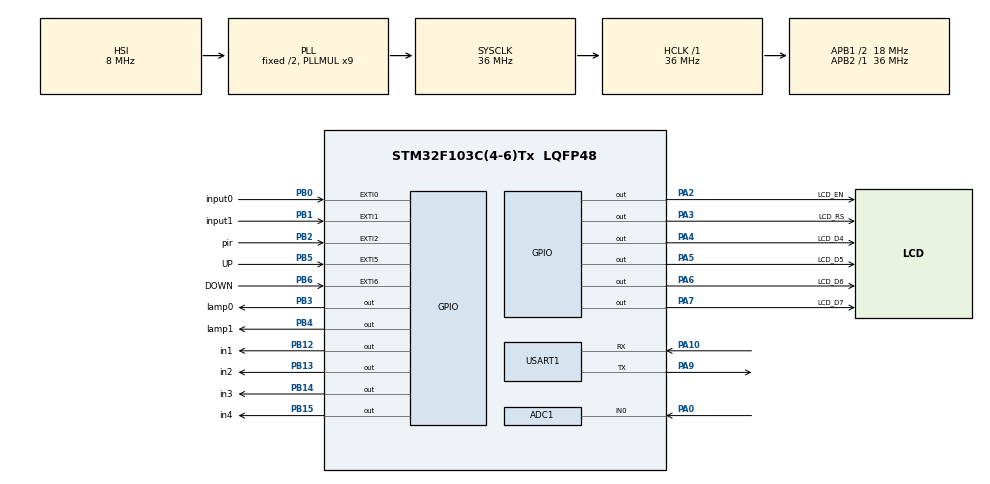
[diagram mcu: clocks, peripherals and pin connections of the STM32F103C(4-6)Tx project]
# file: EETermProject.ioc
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ADC1.Channel-0\#ChannelRegularConversion=ADC_CHANNEL_0
ADC1.NbrOfConversionFlag=1
ADC1.Rank-0\#ChannelRegularConversion=1
ADC1.SamplingTime-0\#ChannelRegularConversion=ADC_SAMPLETIME_28CYCLES_5
ADC1.master=1
Mcu.Family=STM32F1
Mcu.Name=STM32F103C(4-6)Tx
Mcu.Package=LQFP48
NVIC.EXTI0_IRQn=true\:0\:0\:false\:false\:true\:true\:true\:true
NVIC.EXTI1_IRQn=true\:0\:0\:false\:false\:true\:true\:true\:true
NVIC.EXTI2_IRQn=true\:0\:0\:false\:false\:true\:true\:true\:true
NVIC.EXTI9_5_IRQn=true\:1\:0\:true\:false\:true\:true\:true\:true
NVIC.PriorityGroup=NVIC_PRIORITYGROUP_4
NVIC.TIM2_IRQn=true\:0\:0\:false\:false\:true\:true\:true\:true
PA0-WKUP.Signal=ADCx_IN0
PA10.Mode=Asynchronous
PA10.Signal=USART1_RX
PA2.GPIO_Label=LCD_EN
PA2.Signal=GPIO_Output
PA3.GPIO_Label=LCD_RS
PA3.Signal=GPIO_Output
PA4.GPIO_Label=LCD_D4
PA4.Signal=GPIO_Output
PA5.GPIO_Label=LCD_D5
PA5.Signal=GPIO_Output
PA6.GPIO_Label=LCD_D6
PA6.Signal=GPIO_Output
PA7.GPIO_Label=LCD_D7
PA7.Signal=GPIO_Output
PA9.Mode=Asynchronous
PA9.Signal=USART1_TX
PB0.GPIO_Label=input0
PB0.GPIO_PuPd=GPIO_PULLDOWN
PB0.Signal=GPXTI0
PB1.GPIO_Label=input1
PB1.GPIO_PuPd=GPIO_PULLDOWN
PB1.Signal=GPXTI1
PB12.GPIO_Label=in1
PB12.Signal=GPIO_Output
PB13.GPIO_Label=in2
PB13.Signal=GPIO_Output
PB14.GPIO_Label=in3
PB14.Signal=GPIO_Output
PB15.GPIO_Label=in4
PB15.Signal=GPIO_Output
PB2.GPIO_Label=pir
PB2.Signal=GPXTI2
PB3.GPIO_Label=lamp0
PB3.Signal=GPIO_Output
PB4.GPIO_Label=lamp1
PB4.Signal=GPIO_Output
PB5.GPIO_Label=UP
PB5.Signal=GPXTI5
PB6.GPIO_Label=DOWN
PB6.Signal=GPXTI6
PD0-OSC_IN.Mode=HSE-External-Oscillator
PD0-OSC_IN.Signal=RCC_OSC_IN
PD1-OSC_OUT.Mode=HSE-External-Oscillator
PD1-OSC_OUT.Signal=RCC_OSC_OUT
ProjectManager.HeapSize=0x200
ProjectManager.StackSize=0x400
ProjectManager.TargetToolchain=MDK-ARM V5.32
RCC.ADCPresc=RCC_ADCPCLK2_DIV6
RCC.AHBFreq_Value=36000000
RCC.APB1CLKDivider=RCC_HCLK_DIV2
RCC.APB1Freq_Value=18000000
RCC.APB1TimFreq_Value=36000000
RCC.APB2Freq_Value=36000000
RCC.APB2TimFreq_Value=36000000
RCC.HCLKFreq_Value=36000000
RCC.PLLMUL=RCC_PLL_MUL9
RCC.SYSCLKFreq_VALUE=36000000
RCC.SYSCLKSource=RCC_SYSCLKSOURCE_PLLCLK
RCC.USBFreq_Value=36000000
SH.ADCx_IN0.0=ADC1_IN0,IN0
TIM1.Prescaler=90
USART1.VirtualMode=VM_ASYNC
VP_SYS_VS_ND.Mode=No_Debug
VP_TIM1_VS_ClockSourceINT.Mode=Internal
VP_TIM2_VS_ClockSourceINT.Mode=Internal
board=custom

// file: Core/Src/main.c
/* USER CODE BEGIN Header */
/**
  ******************************************************************************
  * @file           : main.c
  * @brief          : Main program body
  ******************************************************************************
  * @attention
  *
  * <h2><center>&copy; Copyright (c) 2021 STMicroelectronics.
  * All rights reserved.</center></h2>
  *
  * This software component is licensed by ST under BSD 3-Clause license,
  * the "License"; You may not use this file except in compliance with the
  * License. You may obtain a copy of the License at:
  *                        opensource.org/licenses/BSD-3-Clause
  *
  ******************************************************************************
  */
/* USER CODE END Header */
#include "main.h"

/* USER CODE BEGIN Includes */
#include "LCD.h"
#include<stdio.h>
#include<stdbool.h>
#include <string.h>
/* USER CODE END Includes */

 ADC_HandleTypeDef hadc1;

TIM_HandleTypeDef htim1;
TIM_HandleTypeDef htim2;

UART_HandleTypeDef huart1;

/* USER CODE BEGIN PV */

#define IN1Port in1_GPIO_Port
#define IN1Pin in1_Pin

#define IN2Port in2_GPIO_Port
#define IN2Pin  in2_Pin

#define IN3Port in3_GPIO_Port
#define IN3Pin  in3_Pin

#define IN4Port in4_GPIO_Port
#define IN4Pin  in4_Pin

#define stepsperrev 2048

/* To produce us Delay */
void delay (uint16_t us)
{
	__HAL_TIM_SET_COUNTER(&htim1, 0);
	while (__HAL_TIM_GET_COUNTER(&htim1) < us);
}

/*set the RPM for the Stepper */
void stepper_set_rpm (int rpm)  // Set rpm--> max 13, min 1,,,  went to 14 rev/min
{
	delay(60000000/stepsperrev/rpm);
}

/*Set a particular pin */
void SetPin (GPIO_TypeDef* GPIOx, uint16_t GPIO_Pin)
{
	HAL_GPIO_WritePin(GPIOx, GPIO_Pin, GPIO_PIN_SET);
}

/*Reset a particular pin */
void ResetPin (GPIO_TypeDef* GPIOx, uint16_t GPIO_Pin)
{
	HAL_GPIO_WritePin(GPIOx, GPIO_Pin, GPIO_PIN_RESET);
}

/* Wave Drive for Stepper
 * It Energizes 1 Electromagnet at a time
 * 1 revolution is 2048 steps = 512 Sequences
 * Here Sequence stands for one complete loop inside this function
 * As there are 4 steps in one loop/sequence, 2048 steps = 512 sequences
 */
void stepper_wave_drive (int step)
{
	switch (step){
		case 0:
			  SetPin(IN1Port, IN1Pin);   // IN1 SET
			  ResetPin(IN2Port, IN2Pin);   // IN2 RESET
			  ResetPin(IN3Port, IN3Pin);   // IN3 RESET
			  ResetPin(IN4Port, IN4Pin);   // IN4 RESET
			  break;

		case 1:
			  ResetPin(IN1Port, IN1Pin);   // IN1 RESET
			  SetPin(IN2Port, IN2Pin);   // IN2 SET
			  ResetPin(IN3Port, IN3Pin);   // IN3 RESET
			  ResetPin(IN4Port, IN4Pin);   // IN4 RESET
			  break;

		case 2:
			  ResetPin(IN1Port, IN1Pin);   // IN1 RESET
			  ResetPin(IN2Port, IN2Pin);   // IN2 RESET
			  SetPin(IN3Port, IN3Pin);   // IN3 SET
			  ResetPin(IN4Port, IN4Pin);   // IN4 RESET
			  break;

		case 3:
			  ResetPin(IN1Port, IN1Pin);   // IN1 RESET
			  ResetPin(IN2Port, IN2Pin);   // IN2 RESET
			  ResetPin(IN3Port, IN3Pin);   // IN3 RESET
			  SetPin(IN4Port, IN4Pin);   // IN4 SET

		}
}

/* Step the motor by some particular angle
 * DIRECTION: 0 -> CK, 1 -> CCK
 */

void stepper_step_angle (float angle, int direction, int rpm)
{
	float anglepersequence = 0.703125;  // 360 degrees= 512 sequences
	int numberofsequences = (int) (angle/anglepersequence);

	for (int seq=0; seq<numberofsequences; seq++)
	{
		if (direction == 0)  // for clockwise
		{
			for (int step=7; step>=0; step--)
			{
				stepper_wave_drive(step);
				stepper_set_rpm(rpm);
			}

		}

		else if (direction == 1)  // for Counter-clockwise
		{
			for (int step=0; step<8; step++)
			{
				stepper_wave_drive(step);
				stepper_set_rpm(rpm);
			}
		}
	}
}

uint16_t ADC_VAL;
float voltage;
float angle;
float currentAngle = 0;

/* Rotate the motor */
void Stepper_rotate (int angle, int rpm)
{
	int changeinangle = 0;
	changeinangle = angle-currentAngle;  // calculate the angle by which the motor needed to be rotated
	if (changeinangle > 2)  // clockwise
	{
		stepper_step_angle (changeinangle,0,rpm);
		currentAngle = angle;  // save the angle as current angle
	}
	else if (changeinangle <-2) // CCK
	{
		changeinangle = -(changeinangle);
		stepper_step_angle (changeinangle,1,rpm);
		currentAngle = angle;
	}
}

/* USER CODE END PV */

void SystemClock_Config(void);
static void MX_GPIO_Init(void);
static void MX_ADC1_Init(void);
static void MX_USART1_UART_Init(void);
static void MX_TIM2_Init(void);
static void MX_TIM1_Init(void);

/* USER CODE BEGIN 0 */
uint32_t adcVal0, adcVal1;
ADC_ChannelConfTypeDef sConfig;
bool lamps[] = {0,0};
int timeTick=0;
char msg[32];
char tem1[32];
/* USER CODE END 0 */

int main(void)
{

  /* MCU Configuration--------------------------------------------------------*/

  /* Reset of all peripherals, Initializes the Flash interface and the Systick. */
  HAL_Init();

  /* Configure the system clock */
  SystemClock_Config();

  /* Initialize all configured peripherals */
  MX_GPIO_Init();
  MX_ADC1_Init();
  MX_USART1_UART_Init();
  MX_TIM2_Init();
  MX_TIM1_Init();
  /* USER CODE BEGIN 2 */

	HAL_TIM_Base_Start(&htim1);
	HAL_TIM_Base_Start_IT(&htim2);

  lcd_init(_LCD_4BIT, _LCD_FONT_5x8, _LCD_2LINE);

  lcd_print(1,1,"Displaying Values");
  HAL_Delay(100);
  lcd_clear();
  /* Initializes SHT2x temperature/humidity sensor and sets the resolution. */
  /* USER CODE END 2 */

  /* Infinite loop */
  while (1)
  {

    /* USER CODE BEGIN 3 */
    if(timeTick<1000){
			sConfig.Channel=ADC_CHANNEL_0;
			HAL_ADC_ConfigChannel(&hadc1, &sConfig);
			HAL_ADC_Start(&hadc1);

			if(HAL_ADC_PollForConversion(&hadc1, 5)==HAL_OK)
			{
				adcVal0=HAL_ADC_GetValue(&hadc1);
				adcVal0=(adcVal0*500)/4096;
				//adcVal0=(adcVal0/4095+0.095)/0.009;
				HAL_Delay(50);
				lcd_clear();
				char tem[32]="";
				sprintf(tem,"%lu", adcVal0);
				lcd_print(1,1,"Temperature");
				lcd_print(1,13,tem);
				HAL_Delay(50);
			}
			else{
				lcd_print(1,1,"Temp.Sensor Corrupt ");
				HAL_Delay(50);
			}
			HAL_ADC_Stop(&hadc1);
			HAL_Delay(50);

			char lmp[32]="";
			sprintf(lmp,"Lamps: %s %s",lamps[0] ? "ON":"OFF", lamps[1]? "ON":"OFF");
			lcd_print(2,1,lmp);

			//char tim[32]="";
			//sprintf(tim,"        Time Tick: %d", timeTick);
			//lcd_print(4,1,tim);
			//HAL_Delay(50);

			char msg[32]="";
			sprintf(msg,"Temperature=%lu Celcius\r\n", adcVal0);
			HAL_UART_Transmit(&huart1,(uint8_t*)msg,strlen(msg),HAL_MAX_DELAY);
			memset(msg, 0, 32); // reset msg
			sprintf(msg,"Lamp0=%s \r\n", lamps[0] ? "ON":"OFF");
			HAL_UART_Transmit(&huart1,(uint8_t*)msg,strlen(msg),HAL_MAX_DELAY);
			memset(msg, 0, 32); // reset msg
			sprintf(msg,"Lamp1=%s \r\n", lamps[1] ? "ON":"OFF");
			HAL_UART_Transmit(&huart1,(uint8_t*)msg,strlen(msg),HAL_MAX_DELAY);
			memset(msg, 0, 32); // reset msg
			sprintf(msg,"TimeTick=%d s\r\n", timeTick);
			HAL_UART_Transmit(&huart1,(uint8_t*)msg,strlen(msg),HAL_MAX_DELAY);

			HAL_Delay(10);
		}
		else{
			  lcd_clear();
				lcd_print(1,1,"System on Sleep");
				HAL_Delay(50);
			  lamps[0]=false;
				lamps[1]=false;
        HAL_GPIO_WritePin(lamp0_GPIO_Port, lamp0_Pin, GPIO_PIN_RESET ); // Toggle The Output (LED) Pin
        HAL_GPIO_WritePin(lamp1_GPIO_Port, lamp1_Pin, GPIO_PIN_RESET ); // Toggle The Output (LED) Pin
		}
  }
  /* USER CODE END 3 */
}

void SystemClock_Config(void)
{
  RCC_OscInitTypeDef RCC_OscInitStruct = {0};
  RCC_ClkInitTypeDef RCC_ClkInitStruct = {0};
  RCC_PeriphCLKInitTypeDef PeriphClkInit = {0};

  /** Initializes the RCC Oscillators according to the specified parameters
  * in the RCC_OscInitTypeDef structure.
  */
  RCC_OscInitStruct.OscillatorType = RCC_OSCILLATORTYPE_HSI;
  RCC_OscInitStruct.HSIState = RCC_HSI_ON;
  RCC_OscInitStruct.HSICalibrationValue = RCC_HSICALIBRATION_DEFAULT;
  RCC_OscInitStruct.PLL.PLLState = RCC_PLL_ON;
  RCC_OscInitStruct.PLL.PLLSource = RCC_PLLSOURCE_HSI_DIV2;
  RCC_OscInitStruct.PLL.PLLMUL = RCC_PLL_MUL9;
  if (HAL_RCC_OscConfig(&RCC_OscInitStruct) != HAL_OK)
  {
    Error_Handler();
  }

  /** Initializes the CPU, AHB and APB buses clocks
  */
  RCC_ClkInitStruct.ClockType = RCC_CLOCKTYPE_HCLK|RCC_CLOCKTYPE_SYSCLK
                              |RCC_CLOCKTYPE_PCLK1|RCC_CLOCKTYPE_PCLK2;
  RCC_ClkInitStruct.SYSCLKSource = RCC_SYSCLKSOURCE_PLLCLK;
  RCC_ClkInitStruct.AHBCLKDivider = RCC_SYSCLK_DIV1;
  RCC_ClkInitStruct.APB1CLKDivider = RCC_HCLK_DIV2;
  RCC_ClkInitStruct.APB2CLKDivider = RCC_HCLK_DIV1;

  if (HAL_RCC_ClockConfig(&RCC_ClkInitStruct, FLASH_LATENCY_1) != HAL_OK)
  {
    Error_Handler();
  }
  PeriphClkInit.PeriphClockSelection = RCC_PERIPHCLK_ADC;
  PeriphClkInit.AdcClockSelection = RCC_ADCPCLK2_DIV6;
  if (HAL_RCCEx_PeriphCLKConfig(&PeriphClkInit) != HAL_OK)
  {
    Error_Handler();
  }
}

static void MX_ADC1_Init(void)
{

  ADC_ChannelConfTypeDef sConfig = {0};

  /** Common config
  */
  hadc1.Instance = ADC1;
  hadc1.Init.ScanConvMode = ADC_SCAN_DISABLE;
  hadc1.Init.ContinuousConvMode = DISABLE;
  hadc1.Init.DiscontinuousConvMode = DISABLE;
  hadc1.Init.ExternalTrigConv = ADC_SOFTWARE_START;
  hadc1.Init.DataAlign = ADC_DATAALIGN_RIGHT;
  hadc1.Init.NbrOfConversion = 1;
  if (HAL_ADC_Init(&hadc1) != HAL_OK)
  {
    Error_Handler();
  }

  /** Configure Regular Channel
  */
  sConfig.Channel = ADC_CHANNEL_0;
  sConfig.Rank = ADC_REGULAR_RANK_1;
  sConfig.SamplingTime = ADC_SAMPLETIME_28CYCLES_5;
  if (HAL_ADC_ConfigChannel(&hadc1, &sConfig) != HAL_OK)
  {
    Error_Handler();
  }

}

static void MX_TIM1_Init(void)
{

  TIM_ClockConfigTypeDef sClockSourceConfig = {0};
  TIM_MasterConfigTypeDef sMasterConfig = {0};

  htim1.Instance = TIM1;
  htim1.Init.Prescaler = 90;
  htim1.Init.CounterMode = TIM_COUNTERMODE_UP;
  htim1.Init.Period = 65535;
  htim1.Init.ClockDivision = TIM_CLOCKDIVISION_DIV1;
  htim1.Init.RepetitionCounter = 0;
  htim1.Init.AutoReloadPreload = TIM_AUTORELOAD_PRELOAD_DISABLE;
  if (HAL_TIM_Base_Init(&htim1) != HAL_OK)
  {
    Error_Handler();
  }
  sClockSourceConfig.ClockSource = TIM_CLOCKSOURCE_INTERNAL;
  if (HAL_TIM_ConfigClockSource(&htim1, &sClockSourceConfig) != HAL_OK)
  {
    Error_Handler();
  }
  sMasterConfig.MasterOutputTrigger = TIM_TRGO_RESET;
  sMasterConfig.MasterSlaveMode = TIM_MASTERSLAVEMODE_DISABLE;
  if (HAL_TIMEx_MasterConfigSynchronization(&htim1, &sMasterConfig) != HAL_OK)
  {
    Error_Handler();
  }

}

static void MX_TIM2_Init(void)
{

  TIM_ClockConfigTypeDef sClockSourceConfig = {0};
  TIM_MasterConfigTypeDef sMasterConfig = {0};

  htim2.Instance = TIM2;
  htim2.Init.Prescaler = 0;
  htim2.Init.CounterMode = TIM_COUNTERMODE_UP;
  htim2.Init.Period = 65535;
  htim2.Init.ClockDivision = TIM_CLOCKDIVISION_DIV1;
  htim2.Init.AutoReloadPreload = TIM_AUTORELOAD_PRELOAD_DISABLE;
  if (HAL_TIM_Base_Init(&htim2) != HAL_OK)
  {
    Error_Handler();
  }
  sClockSourceConfig.ClockSource = TIM_CLOCKSOURCE_INTERNAL;
  if (HAL_TIM_ConfigClockSource(&htim2, &sClockSourceConfig) != HAL_OK)
  {
    Error_Handler();
  }
  sMasterConfig.MasterOutputTrigger = TIM_TRGO_RESET;
  sMasterConfig.MasterSlaveMode = TIM_MASTERSLAVEMODE_DISABLE;
  if (HAL_TIMEx_MasterConfigSynchronization(&htim2, &sMasterConfig) != HAL_OK)
  {
    Error_Handler();
  }

}

static void MX_USART1_UART_Init(void)
{

  huart1.Instance = USART1;
  huart1.Init.BaudRate = 115200;
  huart1.Init.WordLength = UART_WORDLENGTH_8B;
  huart1.Init.StopBits = UART_STOPBITS_1;
  huart1.Init.Parity = UART_PARITY_NONE;
  huart1.Init.Mode = UART_MODE_TX_RX;
  huart1.Init.HwFlowCtl = UART_HWCONTROL_NONE;
  huart1.Init.OverSampling = UART_OVERSAMPLING_16;
  if (HAL_UART_Init(&huart1) != HAL_OK)
  {
    Error_Handler();
  }

}

static void MX_GPIO_Init(void)
{
  GPIO_InitTypeDef GPIO_InitStruct = {0};

  /* GPIO Ports Clock Enable */
  __HAL_RCC_GPIOD_CLK_ENABLE();
  __HAL_RCC_GPIOA_CLK_ENABLE();
  __HAL_RCC_GPIOB_CLK_ENABLE();

  /*Configure GPIO pin Output Level */
  HAL_GPIO_WritePin(GPIOA, LCD_EN_Pin|LCD_RS_Pin|LCD_D4_Pin|LCD_D5_Pin
                          |LCD_D6_Pin|LCD_D7_Pin, GPIO_PIN_RESET);

  /*Configure GPIO pin Output Level */
  HAL_GPIO_WritePin(GPIOB, in1_Pin|in2_Pin|in3_Pin|in4_Pin
                          |lamp0_Pin|lamp1_Pin, GPIO_PIN_RESET);

  /*Configure GPIO pins : LCD_EN_Pin LCD_RS_Pin LCD_D4_Pin LCD_D5_Pin
                           LCD_D6_Pin LCD_D7_Pin */
  GPIO_InitStruct.Pin = LCD_EN_Pin|LCD_RS_Pin|LCD_D4_Pin|LCD_D5_Pin
                          |LCD_D6_Pin|LCD_D7_Pin;
  GPIO_InitStruct.Mode = GPIO_MODE_OUTPUT_PP;
  GPIO_InitStruct.Pull = GPIO_NOPULL;
  GPIO_InitStruct.Speed = GPIO_SPEED_FREQ_LOW;
  HAL_GPIO_Init(GPIOA, &GPIO_InitStruct);

  /*Configure GPIO pins : input0_Pin input1_Pin */
  GPIO_InitStruct.Pin = input0_Pin|input1_Pin;
  GPIO_InitStruct.Mode = GPIO_MODE_IT_RISING;
  GPIO_InitStruct.Pull = GPIO_PULLDOWN;
  HAL_GPIO_Init(GPIOB, &GPIO_InitStruct);

  /*Configure GPIO pins : pir_Pin UP_Pin DOWN_Pin */
  GPIO_InitStruct.Pin = pir_Pin|UP_Pin|DOWN_Pin;
  GPIO_InitStruct.Mode = GPIO_MODE_IT_RISING;
  GPIO_InitStruct.Pull = GPIO_NOPULL;
  HAL_GPIO_Init(GPIOB, &GPIO_InitStruct);

  /*Configure GPIO pins : in1_Pin in2_Pin in3_Pin in4_Pin
                           lamp0_Pin lamp1_Pin */
  GPIO_InitStruct.Pin = in1_Pin|in2_Pin|in3_Pin|in4_Pin
                          |lamp0_Pin|lamp1_Pin;
  GPIO_InitStruct.Mode = GPIO_MODE_OUTPUT_PP;
  GPIO_InitStruct.Pull = GPIO_NOPULL;
  GPIO_InitStruct.Speed = GPIO_SPEED_FREQ_LOW;
  HAL_GPIO_Init(GPIOB, &GPIO_InitStruct);

  /* EXTI interrupt init*/
  HAL_NVIC_SetPriority(EXTI0_IRQn, 0, 0);
  HAL_NVIC_EnableIRQ(EXTI0_IRQn);

  HAL_NVIC_SetPriority(EXTI1_IRQn, 0, 0);
  HAL_NVIC_EnableIRQ(EXTI1_IRQn);

  HAL_NVIC_SetPriority(EXTI2_IRQn, 0, 0);
  HAL_NVIC_EnableIRQ(EXTI2_IRQn);

  HAL_NVIC_SetPriority(EXTI9_5_IRQn, 1, 0);
  HAL_NVIC_EnableIRQ(EXTI9_5_IRQn);

}

/* USER CODE BEGIN 4 */

void HAL_GPIO_EXTI_Callback(uint16_t GPIO_Pin)
{
    if(GPIO_Pin == input0_Pin) // If The INT Source Is EXTI Line9 (A9 Pin)
    {
      HAL_GPIO_TogglePin(lamp0_GPIO_Port, lamp0_Pin); // Toggle The Output (LED) Pin
			lamps[0]=!lamps[0];
			timeTick=0;
    }
		else if(GPIO_Pin == input1_Pin) // If The INT Source Is EXTI Line9 (A9 Pin)
    {
      HAL_GPIO_TogglePin(lamp1_GPIO_Port, lamp1_Pin); // Toggle The Output (LED) Pin
			lamps[1]=!lamps[1];
			timeTick=0;
    }
		else if(GPIO_Pin == pir_Pin) // If The INT Source Is EXTI Line9 (A9 Pin)
		{
			/// Motor down
			timeTick=0;
		}
		/// HIGH PRESCELAR INTERRUPTS
		else if(GPIO_Pin == UP_Pin) // If The INT Source Is EXTI Line9 (A9 Pin)
		{
			Stepper_rotate(10,10);
			timeTick=0;
			/// Motor up
		}
		else if(GPIO_Pin == DOWN_Pin) // If The INT Source Is EXTI Line9 (A9 Pin)
		{
			Stepper_rotate(-10,10);
			timeTick=0;

			/// Motor down
		}

}

void HAL_TIM_PeriodElapsedCallback(TIM_HandleTypeDef* htim)
{
    timeTick++;
}

/* USER CODE END 4 */

void Error_Handler(void)
{
  __disable_irq();
  while (1)
  {
  }
}
